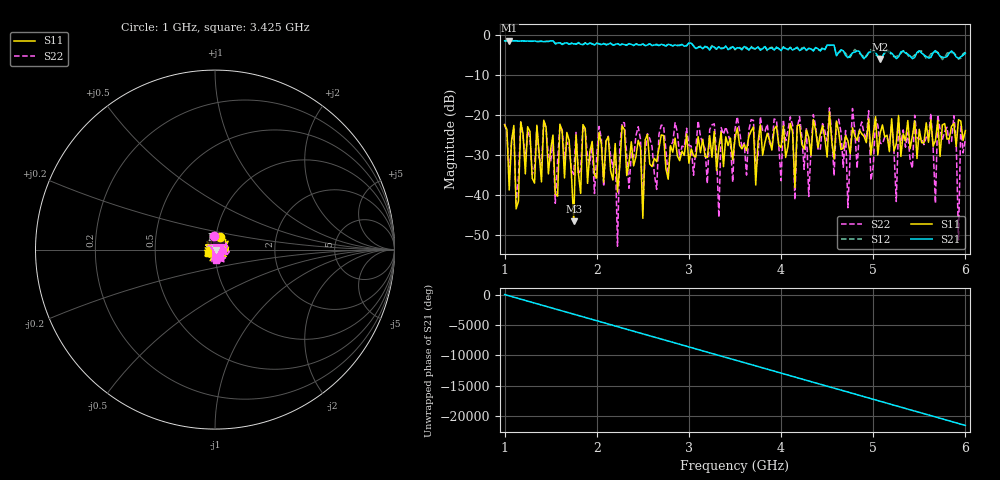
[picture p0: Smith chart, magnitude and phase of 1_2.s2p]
!Agilent Technologies,E8358A,US40260214,A.04.86
!Agilent E8358A: A.04.86
!Date: Wednesday, July 24, 2019 08:31:13
!Correction: S11(Full 2 Port SOLT,1,2) S21(Full 2 Port SOLT,1,2) S12(Full 2 Port SOLT,1,2) S22(Full 2 Port SOLT,1,2)
!S2P File: Measurements: S11, S21, S12, S22:
# Hz S  dB  R 50
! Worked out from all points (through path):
!   201 points, 1 GHz to 6 GHz, reference 50 ohm
!   highest |S21| = -1.35 dB at 1.05 GHz (marker M1); lowest = -5.9 dB at 5.075 GHz (marker M2)
!   lowest |S11| = -46.7 dB at 1.75 GHz (marker M3), VSWR 1.01, Z = 50.5 - j0.0222 ohm
!   |S11| at or under -10 dB: start of sweep to end of sweep
!   |S22| runs from -52.9 to -18.2 dB; largest |S21 - S12| = 0.058
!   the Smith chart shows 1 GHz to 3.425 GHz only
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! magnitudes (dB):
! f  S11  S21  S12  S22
! 1 GHz  -22.4  -1.4  -1.4  -22.2
! 1.05 GHz  -38.8  -1.3  -1.3  -35.2
! 1.6 GHz  -22.3  -1.9  -1.9  -22.7
! 1.75 GHz  -46.7  -2.1  -1.9  -34.9
! 1.85 GHz  -22.4  -2.3  -2.3  -22.8
! 2.2 GHz  -27.1  -2.3  -2.3  -28.2
! 2.225 GHz  -39.3  -2.1  -2.0  -52.9
! 2.275 GHz  -22.7  -2.2  -2.3  -21.9
! 2.675 GHz  -28.4  -2.6  -2.5  -24.8
! 3.275 GHz  -24.1  -3.0  -3.2  -22.2
! 3.325 GHz  -28.0  -2.9  -2.7  -45.7
! 3.5 GHz  -25.9  -3.5  -3.6  -23.5
! 4.15 GHz  -38.2  -3.4  -3.3  -41.3
! 4.35 GHz  -21.1  -3.9  -3.7  -19.9
! 5.075 GHz  -24.6  -5.9  -5.3  -27.1
! 5.175 GHz  -29.2  -4.3  -4.0  -26.9
! 5.625 GHz  -21.2  -5.5  -4.7  -19.5
! 5.675 GHz  -26.4  -3.8  -4.2  -42.2
! 5.875 GHz  -22.1  -4.5  -4.4  -20.2
! 5.925 GHz  -21.2  -5.8  -6.0  -51.4
! 5.95 GHz  -21.5  -5.4  -5.7  -22.5
! 6 GHz  -23.9  -4.5  -4.2  -26.0
